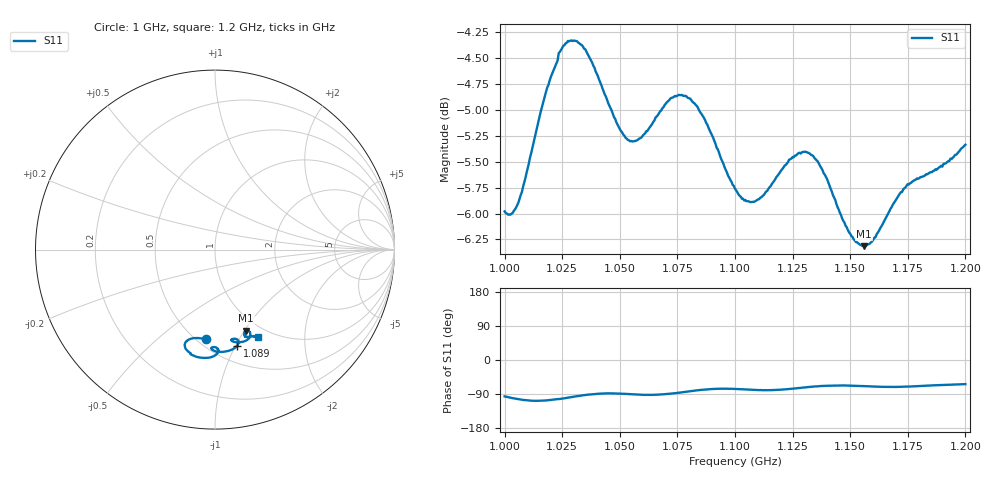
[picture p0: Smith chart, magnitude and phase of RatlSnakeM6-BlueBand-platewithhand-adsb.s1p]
! NanoVNA-App
! Date: 2026-05-22 19:38:41
! Start: 1GHz Stop: 1.2GHz Points: 401
! S-Parameter data: F S11
# Hz S RI R 50
!  Frequency  S11_Real  S11_Imag
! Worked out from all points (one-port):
!   401 points, 1 GHz to 1.2 GHz, reference 50 ohm
!   lowest |S11| = -6.3 dB at 1.156 GHz (marker M1), VSWR 2.87, Z = 43.2 - j50.9 ohm
!   |S11| at or under -10 dB: nowhere
!   S11 on the Smith chart (normalised r, x): 1 GHz: 0.55, -0.74; 1.089 GHz: 0.66, -1.01; 1.2 GHz: 0.87, -1.19
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1e9  -0.0521 -0.4996
1.0065e9  -0.1241 -0.4942
1.013e9  -0.1652 -0.5192
1.0185e9  -0.1622 -0.553
1.025e9  -0.1243 -0.5892
1.0315e9  -0.0571 -0.6039
1.039e9  0.00153 -0.5891
1.044e9  0.0181 -0.5701
1.05e9  0.0122 -0.5502
1.0565e9  -0.00804 -0.5431
1.064e9  -0.0191 -0.553
1.0685e9  -0.00599 -0.5632
1.075e9  0.032 -0.5702
1.0825e9  0.0882 -0.5592
1.0885e9  0.1223 -0.5374
1.094e9  0.1311 -0.516
1.1e9  0.1227 -0.5003
1.113e9  0.0916 -0.5043
1.118e9  0.1006 -0.5121
1.125e9  0.1325 -0.5169
1.132e9  0.1717 -0.5076
1.138e9  0.1921 -0.4895
1.1445e9  0.1957 -0.4653
1.15e9  0.188 -0.4526
1.156e9  0.1734 -0.4512
1.165e9  0.1632 -0.47
1.175e9  0.1759 -0.487
1.2e9  0.2397 -0.4849
